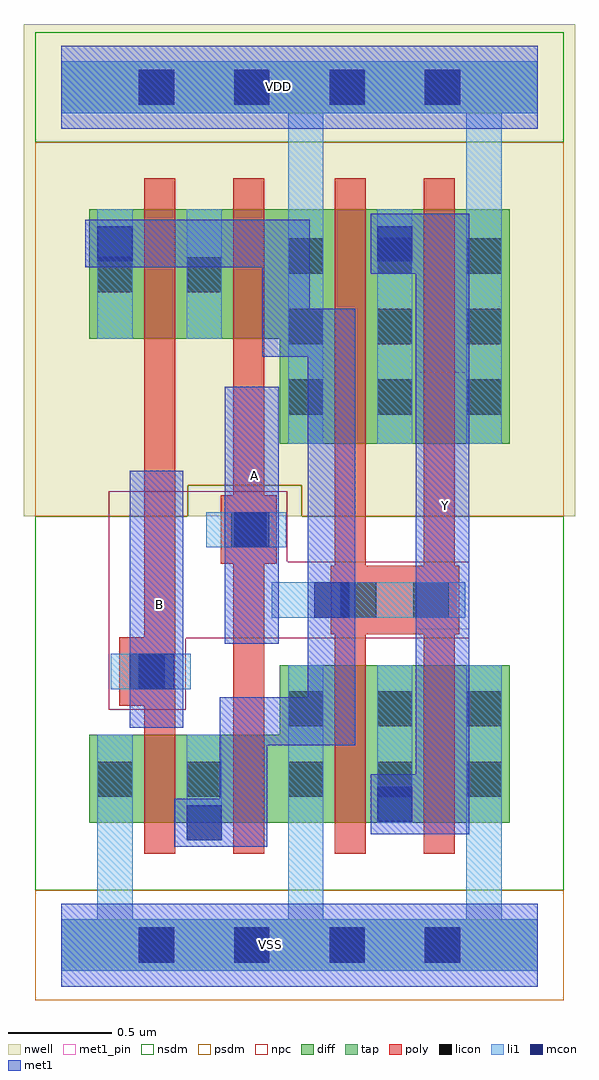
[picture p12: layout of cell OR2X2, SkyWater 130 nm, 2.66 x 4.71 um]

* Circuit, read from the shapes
.subckt OR2X2 A B VDD VSS Y
XM1 n1 B VSS VSS sky130_fd_pr__nfet_01v8 w=0.425 l=0.15
XM2 VSS A n1 VSS sky130_fd_pr__nfet_01v8 w=0.425 l=0.15
XM3 Y n1 VSS VSS sky130_fd_pr__nfet_01v8 w=0.76 l=0.15 m=2
XM4 n2 B n1 VDD sky130_fd_pr__pfet_01v8 w=0.625 l=0.15
XM5 VDD A n2 VDD sky130_fd_pr__pfet_01v8 w=0.625 l=0.15
XM6 Y n1 VDD VDD sky130_fd_pr__pfet_01v8 w=1.13 l=0.15 m=2
.ends

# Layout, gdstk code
import gdstk
lib = gdstk.Library(unit=1e-6, precision=1e-09)
def R(c, l, rs):  # rectangles x0, y0, x1, y1
    for r in rs: c.add(gdstk.rectangle(r[:2], r[2:], *l))
def A(c, l, x, y, w, h, nx, ny, dx, dy):  # array of equal rectangles
    R(c, l, [(x+i*dx, y+j*dy, x+i*dx+w, y+j*dy+h) for i in range(nx) for j in range(ny)])
def P(c, l, *ps):  # polygons
    for p in ps: c.add(gdstk.Polygon(p, *l))
nwell = (64, 20)
diff = (65, 20)
tap = (65, 44)
poly = (66, 20)
licon = (66, 44)
li1 = (67, 20)
mcon = (67, 44)
met1_pin = (68, 16)
met1 = (68, 20)
nsdm = (93, 44)
psdm = (94, 20)
npc = (95, 20)

pyl1con_c_cdns_751554744 = lib.new_cell('PYL1CON_C_CDNS_751554744751')
R(pyl1con_c_cdns_751554744, poly, [(-0.135,-0.165,0.135,0.165)])
R(pyl1con_c_cdns_751554744, licon, [(-0.085,-0.085,0.085,0.085)])
R(pyl1con_c_cdns_751554744, npc, [(-0.185,-0.185,0.185,0.185)])

l1m1_c_cdns_751554744750 = lib.new_cell('L1M1_C_CDNS_751554744750$$8')
R(l1m1_c_cdns_751554744750, li1, [(-0.085,-0.165,0.085,0.165)])
R(l1m1_c_cdns_751554744750, mcon, [(-0.085,-0.085,0.085,0.085)])
R(l1m1_c_cdns_751554744750, met1, [(-0.115,-0.145,0.115,0.145)])

c_l1m1_c_cdns_751554744750 = lib.new_cell('L1M1_C_CDNS_751554744750$$15')
R(c_l1m1_c_cdns_751554744750, li1, [(-0.085,-0.085,0.085,0.165)])
R(c_l1m1_c_cdns_751554744750, mcon, [(-0.085,-0.085,0.085,0.085)])
R(c_l1m1_c_cdns_751554744750, met1, [(-0.145,-0.115,0.145,0.115)])

c_l1m1_c_cdns_751554744750_ = lib.new_cell('L1M1_C_CDNS_751554744750$$9')
R(c_l1m1_c_cdns_751554744750_, li1, [(-0.165,-0.085,0.165,0.085)])
R(c_l1m1_c_cdns_751554744750_, mcon, [(-0.085,-0.085,0.085,0.085)])
R(c_l1m1_c_cdns_751554744750_, met1, [(-0.115,-0.145,0.115,0.145)])

c_l1m1_c_cdns_751554744750__ = lib.new_cell('L1M1_C_CDNS_751554744750$$13')
R(c_l1m1_c_cdns_751554744750__, li1, [(-0.085,-0.165,0.085,0.165)])
R(c_l1m1_c_cdns_751554744750__, mcon, [(-0.085,-0.085,0.085,0.085)])
R(c_l1m1_c_cdns_751554744750__, met1, [(-0.145,-0.115,0.145,0.115)])

c_l1m1_c_cdns_751554744750___ = lib.new_cell('L1M1_C_CDNS_751554744750$$16')
R(c_l1m1_c_cdns_751554744750___, li1, [(-0.085,-0.085,0.085,0.165)])
R(c_l1m1_c_cdns_751554744750___, mcon, [(-0.085,-0.085,0.085,0.085)])
R(c_l1m1_c_cdns_751554744750___, met1, [(-0.115,-0.145,0.115,0.145)])

or2x2 = lib.new_cell('OR2X2')
R(or2x2, nwell, [(-0.18,2.07,2.48,4.445)])
P(or2x2, diff, [(2.165,1.35),(1.055,1.35),(1.055,1.015),(0.135,1.015),(0.135,0.59),(2.165,0.59)],
  [(2.165,3.55),(0.135,3.55),(0.135,2.925),(1.055,2.925),(1.055,2.42),(2.165,2.42)])
R(or2x2, poly, [(0.4,0.44,0.55,3.7), (0.83,0.44,0.98,3.7)])
P(or2x2, poly, [(1.92,1.83),(1.9,1.83),(1.9,3.7),(1.75,3.7),(1.75,1.83),(1.47,1.83),(1.47,3.7),(1.32,3.7),(1.32,1.83),(1.3,1.83),(1.3,1.5),(1.32,1.5),(1.32,0.44),(1.47,0.44),(1.47,1.5),(1.75,1.5),(1.75,0.44),(1.9,0.44),(1.9,1.5),(1.92,1.5)])
A(or2x2, licon, 0.375, -0.085, 0.17, 0.17, 4, 2, 0.46, 4.14)
A(or2x2, licon, 1.095, 0.715, 0.17, 0.17, 3, 2, 0.43, 0.34)
A(or2x2, licon, 1.095, 2.56, 0.17, 0.17, 3, 3, 0.43, 0.34)
R(or2x2, licon, [(0.175,0.715,0.345,0.885), (0.605,0.715,0.775,0.885), (0.175,3.15,0.345,3.32), (0.605,3.15,0.775,3.32)])
R(or2x2, li1, [(0.605,0.59,0.775,1.015), (1.525,0.59,1.695,1.35), (1.525,2.42,1.695,3.55), (0.175,2.925,0.345,3.55), (0.605,2.925,0.775,3.55)])
P(or2x2, li1, [(2.3,0.125),(2.125,0.125),(2.125,1.35),(1.955,1.35),(1.955,0.125),(1.265,0.125),(1.265,1.35),(1.095,1.35),(1.095,0.125),(0.345,0.125),(0.345,1.015),(0.175,1.015),(0.175,0.125),(0,0.125),(0,-0.125),(2.3,-0.125)],
  [(2.3,4.265),(0,4.265),(0,4.015),(1.095,4.015),(1.095,2.42),(1.265,2.42),(1.265,4.015),(1.955,4.015),(1.955,2.42),(2.125,2.42),(2.125,4.015),(2.3,4.015)])
A(or2x2, mcon, 0.375, -0.085, 0.17, 0.17, 4, 2, 0.46, 4.14)
R(or2x2, met1_pin, [(0.33,1.05,0.59,2.29), (0.79,1.455,1.05,2.695), (1.71,1.525,1.97,2.765)])
R(or2x2, nsdm, [(-0.125,3.875,2.425,4.405)])
P(or2x2, nsdm, [(2.425,2.07),(1.16,2.07),(1.16,2.22),(0.61,2.22),(0.61,2.07),(-0.125,2.07),(-0.125,0.265),(2.425,0.265)])
R(or2x2, psdm, [(-0.125,-0.265,2.425,0.265)])
P(or2x2, psdm, [(2.425,3.875),(-0.125,3.875),(-0.125,2.07),(0.61,2.07),(0.61,2.22),(1.16,2.22),(1.16,2.07),(2.425,2.07)])
P(or2x2, npc, [(1.97,1.85),(1.09,1.85),(1.09,2.19),(0.23,2.19),(0.23,1.14),(0.6,1.14),(0.6,1.48),(1.97,1.48)])
or2x2.add(gdstk.FlexPath([(0.7,2.005),(1.07,2.005)], 0.17, ends="flush", simple_path=True, layer=67, datatype=20))  # li1
or2x2.add(gdstk.FlexPath([(1.015,1.665),(1.95,1.665)], 0.17, ends="flush", simple_path=True, layer=67, datatype=20))  # li1
or2x2.add(gdstk.FlexPath([(0.24,1.32),(0.6,1.32)], 0.17, ends="flush", simple_path=True, layer=67, datatype=20))  # li1
or2x2.add(gdstk.FlexPath([(0,4.14),(2.3,4.14)], 0.25, ends="flush", simple_path=True, layer=65, datatype=44))  # tap
or2x2.add(gdstk.FlexPath([(0,0),(2.3,0)], 0.25, ends="flush", simple_path=True, layer=65, datatype=44))  # tap
or2x2.add(gdstk.FlexPath([(1.84,0.535),(1.84,3.53)], 0.26, ends="flush", simple_path=True, layer=68, datatype=20))  # met1
or2x2.add(gdstk.FlexPath([(0.88,0.475),(0.88,1.08),(1.305,1.08),(1.305,2.955),(1.085,2.955),(1.085,3.385),(0.275,3.385)], 0.23, ends="flush", simple_path=True, layer=68, datatype=20))  # met1
or2x2.add(gdstk.FlexPath([(0.92,1.455),(0.92,2.695)], 0.26, ends="flush", simple_path=True, layer=68, datatype=20))  # met1
or2x2.add(gdstk.FlexPath([(0.46,1.05),(0.46,2.29)], 0.26, ends="flush", simple_path=True, layer=68, datatype=20))  # met1
or2x2.add(gdstk.FlexPath([(0,4.14),(2.3,4.14)], 0.4, ends="flush", simple_path=True, layer=68, datatype=20))  # met1
or2x2.add(gdstk.FlexPath([(0,0),(2.3,0)], 0.4, ends="flush", simple_path=True, layer=68, datatype=20))  # met1
or2x2.add(gdstk.FlexPath([(0,0),(2.3,0)], 0.4, ends="flush", simple_path=True, layer=68, datatype=16))  # met1_pin
or2x2.add(gdstk.FlexPath([(0,4.14),(2.3,4.14)], 0.4, ends="flush", simple_path=True, layer=68, datatype=16))  # met1_pin
or2x2.add(gdstk.Reference(pyl1con_c_cdns_751554744, (0.415,1.32)))
or2x2.add(gdstk.Reference(pyl1con_c_cdns_751554744, (1.785,1.665)))
or2x2.add(gdstk.Reference(pyl1con_c_cdns_751554744, (0.905,2.005)))
or2x2.add(gdstk.Reference(pyl1con_c_cdns_751554744, (1.435,1.665)))
or2x2.add(gdstk.Reference(l1m1_c_cdns_751554744750, (1.61,3.385)))
or2x2.add(gdstk.Reference(c_l1m1_c_cdns_751554744750, (0.69,0.59)))
or2x2.add(gdstk.Reference(c_l1m1_c_cdns_751554744750_, (1.305,1.665)))
or2x2.add(gdstk.Reference(c_l1m1_c_cdns_751554744750_, (0.46,1.32), x_reflection=True))
or2x2.add(gdstk.Reference(c_l1m1_c_cdns_751554744750_, (0.92,2.005), x_reflection=True))
or2x2.add(gdstk.Reference(c_l1m1_c_cdns_751554744750__, (0.26,3.385)))
or2x2.add(gdstk.Reference(c_l1m1_c_cdns_751554744750___, (1.61,0.68)))
or2x2.add(gdstk.Label('VSS', (1.01,0.005), layer=68, texttype=5))
or2x2.add(gdstk.Label('Y', (1.855,2.12), layer=68, texttype=5))
or2x2.add(gdstk.Label('B', (0.475,1.645), layer=68, texttype=5))
or2x2.add(gdstk.Label('A', (0.935,2.265), layer=68, texttype=5))
or2x2.add(gdstk.Label('VDD', (1.05,4.145), layer=68, texttype=5))

lib.write_gds('OR2X2.gds')
